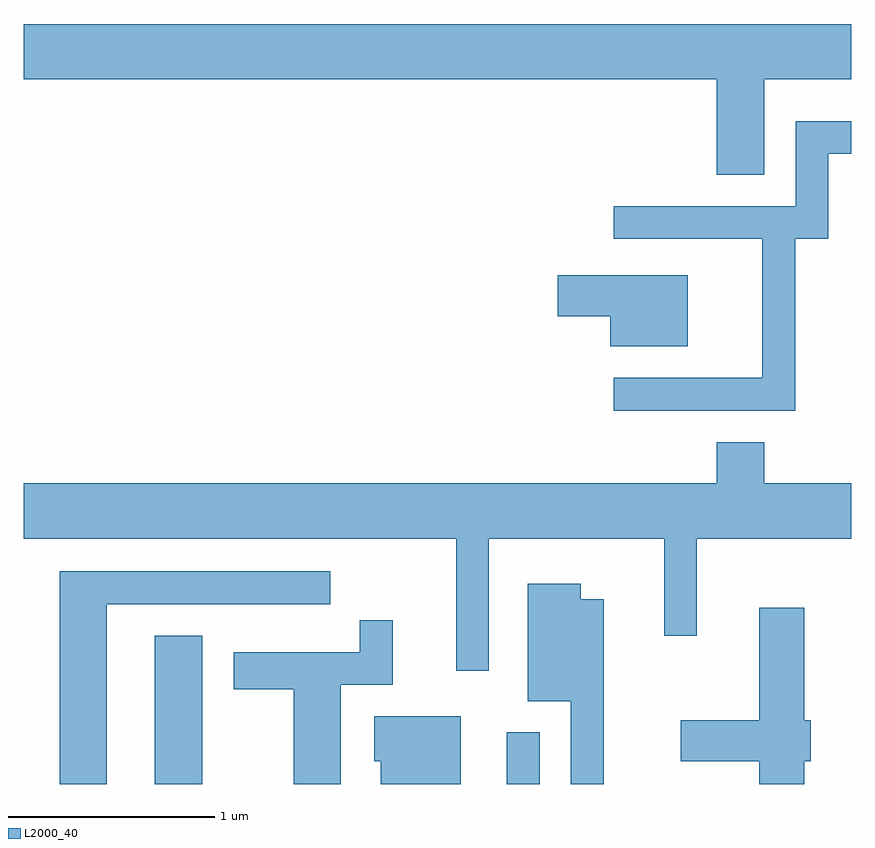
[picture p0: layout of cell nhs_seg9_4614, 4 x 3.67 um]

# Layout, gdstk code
import gdstk
lib = gdstk.Library(unit=1e-6, precision=1e-09)
def R(c, l, rs):  # rectangles x0, y0, x1, y1
    for r in rs: c.add(gdstk.rectangle(r[:2], r[2:], *l))
def P(c, l, *ps):  # polygons
    for p in ps: c.add(gdstk.Polygon(p, *l))
L2000_40 = (2000, 40)

nhs_seg9_4614 = lib.new_cell('nhs_seg9_4614')
R(nhs_seg9_4614, L2000_40, [(322.246,1968.432,322.474,1969.149), (323.946,1968.432,324.104,1968.683)])
P(nhs_seg9_4614, L2000_40, [(325.189,1971.836),(325.611,1971.836),(325.611,1972.104),(321.611,1972.104),(321.611,1971.836),(324.961,1971.836),(324.961,1971.376),(325.189,1971.376)],
  [(325.339,1971.066),(325.499,1971.066),(325.499,1971.476),(325.611,1971.476),(325.611,1971.634),(325.341,1971.634),(325.341,1971.224),(324.463,1971.224),(324.463,1971.066),(325.181,1971.066),(325.181,1970.394),(324.463,1970.394),(324.463,1970.236),(325.339,1970.236)],
  [(324.819,1970.889),(324.191,1970.889),(324.191,1970.691),(324.446,1970.691),(324.446,1970.546),(324.819,1970.546)],
  [(323.859,1969.616),(324.706,1969.616),(324.706,1969.148),(324.864,1969.148),(324.864,1969.616),(325.611,1969.616),(325.611,1969.884),(325.189,1969.884),(325.189,1970.084),(324.961,1970.084),(324.961,1969.884),(321.611,1969.884),(321.611,1969.616),(323.701,1969.616),(323.701,1968.978),(323.859,1968.978)],
  [(322.014,1969.301),(323.093,1969.301),(323.093,1969.459),(321.786,1969.459),(321.786,1968.432),(322.014,1968.432)],
  [(324.414,1969.324),(324.304,1969.324),(324.304,1969.399),(324.046,1969.399),(324.046,1968.831),(324.256,1968.831),(324.256,1968.432),(324.414,1968.432)],
  [(325.384,1968.541),(325.414,1968.541),(325.414,1968.739),(325.384,1968.739),(325.384,1969.284),(325.166,1969.284),(325.166,1968.739),(324.786,1968.739),(324.786,1968.541),(325.166,1968.541),(325.166,1968.432),(325.384,1968.432)],
  [(323.144,1968.911),(323.394,1968.911),(323.394,1969.223),(323.236,1969.223),(323.236,1969.069),(322.626,1969.069),(322.626,1968.891),(322.916,1968.891),(322.916,1968.432),(323.144,1968.432)],
  [(323.724,1968.759),(323.306,1968.759),(323.306,1968.541),(323.336,1968.541),(323.336,1968.432),(323.724,1968.432)])

lib.write_gds('nhs_seg9_4614.gds')
